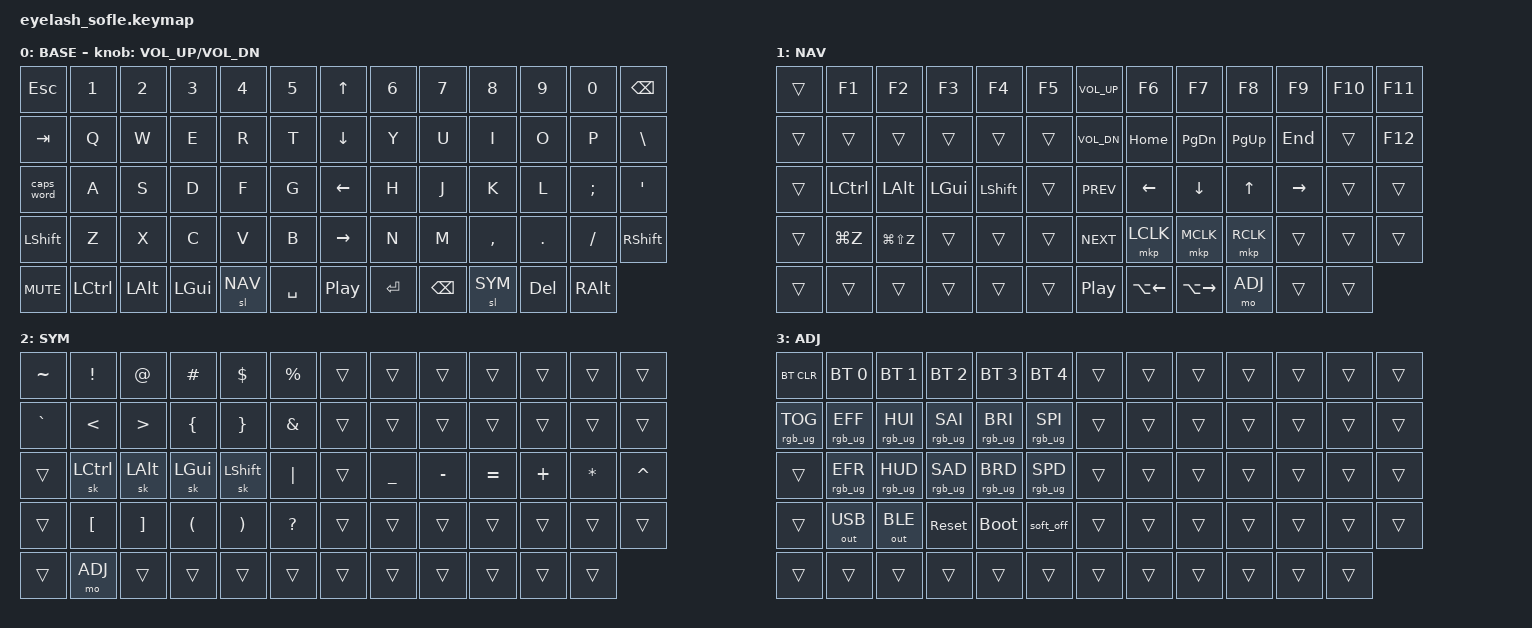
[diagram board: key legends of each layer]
/*
 * Eyelash Sofle Keymap - Vim Style & No Hold
 *
 * Esta configuración está optimizada para programadores y usuarios de Vim.
 * Principios clave:
 * 1. No Hold: Evita mantener teclas pulsadas (Home Row Mods) para reducir latencia y errores.
 * 2. Sticky Keys/Layers: Usa teclas "pegajosas" para modificadores y capas.
 * 3. Vim Navigation: Flechas HJKL en la posición correcta.
 * 4. Combos: Atajos rápidos para teclas lejanas (Esc, Enter, Backspace).
 */

#include <behaviors.dtsi>
#include <dt-bindings/zmk/keys.h>
#include <dt-bindings/zmk/bt.h>
#include <dt-bindings/zmk/outputs.h>
#include <dt-bindings/zmk/pointing.h>
#include <dt-bindings/zmk/rgb.h>

/* --- DEFINICIÓN DE CAPAS --- */
#define BASE 0  // Capa base (QWERTY)
#define NAV  1  // Navegación (Flechas, Mouse, F-Keys)
#define SYM  2  // Símbolos
#define ADJ  3  // Ajustes del teclado (RGB, BT)

/* --- CONFIGURACIÓN DEL MOUSE --- */
/* Ajustes de sensibilidad para el trackball y scroll */

&msc {
    acceleration-exponent = <1>;      // Aceleración lineal
    time-to-max-speed-ms = <100>;     // Tiempo para velocidad máxima
    delay-ms = <0>;                   // Sin retraso inicial
};

&mmv {
    time-to-max-speed-ms = <500>;     // Suavizado de movimiento
    acceleration-exponent = <1>;
    trigger-period-ms = <16>;
};

/* --- COMPORTAMIENTOS PERSONALIZADOS --- */

/* Soft Off: Apagado suave del teclado */
&soft_off { hold-time-ms = <2000>; };

/* Sticky Keys (&sk): Modificadores que se quedan "pegados" */
/* Ejemplo: Pulsas Shift, sueltas, pulsas A -> Escribe 'A' mayúscula */
/* Sticky Keys (&sk): Modificadores que se quedan "pegados" */
/* Ejemplo: Pulsas Shift, sueltas, pulsas A -> Escribe 'A' mayúscula */
&sk {
    release-after-ms = <2000>;  // Se desactiva si no pulsas nada en 2s
    quick-release;              // Se desactiva inmediatamente tras pulsar la tecla destino
    ignore-modifiers;           // Permite encadenar modificadores (ej. Ctrl+Alt)
};

/* Sticky Layers (&sl): Capas que se quedan activas un momento */
/* Permite pulsar la tecla de capa, soltarla, y luego pulsar la tecla deseada */
&sl {
    release-after-ms = <1000>;  // Tienes 1s para pulsar la tecla de la capa
};

/* Caps Word: Mayúsculas inteligentes */
/* Activa mayúsculas hasta que escribes un espacio o símbolo no permitido */
&caps_word {
    continue-list = <UNDERSCORE MINUS BACKSPACE DELETE>;
};

/ {
    /* --- COMBOS --- */
    /* Pulsar dos teclas a la vez para enviar una acción especial */
    combos {
        compatible = "zmk,combos";

        /* J + K = ESCAPE */
        /* Esencial para salir del modo inserción en Vim sin mover la mano */
        combo_vim_esc {
            timeout-ms = <50>;
            key-positions = <34 35>;
            bindings = <&kp ESC>;
        };

        /* O + P = BACKSPACE */
        /* Borrar sin estirar el meñique a la esquina superior derecha */
        combo_backspace {
            timeout-ms = <50>;
            key-positions = <23 24>;
            bindings = <&kp BSPC>;
        };

        /* K + L = ENTER */
        /* Confirmar comandos rápidamente desde la home row */
        combo_enter {
            timeout-ms = <50>;
            key-positions = <35 36>;
            bindings = <&kp RET>;
        };

        /* ; + ' = COLON */
        /* Acceso directo a : para Vim command mode (:w, :q, :s, etc.) */
        combo_colon {
            timeout-ms = <50>;
            key-positions = <37 38>;
            bindings = <&kp COLON>;
        };

        /* D + F = TAB */
        /* Indentación rápida sin mover la mano del home row */
        combo_tab {
            timeout-ms = <50>;
            key-positions = <29 30>;
            bindings = <&kp TAB>;
        };
    };

    /* Configuración del Encoder (Perilla) para Scroll */
    scroll_encoder: scroll_encoder {
        compatible = "zmk,behavior-sensor-rotate";
        #sensor-binding-cells = <0>;
        bindings = <&msc SCRL_DOWN>, <&msc SCRL_UP>;
        tap-ms = <30>;
    };

    keymap {
        compatible = "zmk,keymap";

        /*
         * CAPA 0: BASE
         * Distribución QWERTY estándar.
         * Pulgares:
         * - Izq: Sticky Layer NAV (un toque activa la capa un momento)
         * - Der: Sticky Layer SYM
         * - Caps Word en lugar de Caps Lock tradicional
         *
         * Panel extra derecho (columna 6):
         * El Eyelash Sofle tiene 5 teclas extra entre las dos mitades.
         * Están distribuidas en una columna vertical (una por fila).
         * La posición física de cada tecla corresponde a su dirección:
         *   Fila 0 (arriba)  → UP
         *   Fila 1            → DOWN
         *   Fila 2            → LEFT
         *   Fila 3            → RIGHT
         *   Fila 4 (centro)   → C_PP (Play/Pause)
         * En otras capas estas teclas usan &trans o controles multimedia.
         */
        default_layer {
            label = "BASE";
            bindings = <
&kp ESC     &kp N1     &kp N2     &kp N3     &kp N4     &kp N5       &kp UP            &kp N6  &kp N7    &kp N8     &kp N9     &kp N0     &kp BSPC
&kp TAB     &kp Q      &kp W      &kp E      &kp R      &kp T        &kp DOWN          &kp Y   &kp U     &kp I      &kp O      &kp P      &kp BSLH
&caps_word  &kp A      &kp S      &kp D      &kp F      &kp G        &kp LEFT          &kp H   &kp J     &kp K      &kp L      &kp SEMI   &kp SQT
&kp LSHFT   &kp Z      &kp X      &kp C      &kp V      &kp B        &kp RIGHT         &kp N   &kp M     &kp COMMA  &kp DOT    &kp FSLH   &kp RSHFT
&kp C_MUTE  &kp LCTRL  &kp LALT   &kp LGUI   &sl NAV    &kp SPACE    &kp C_PP        &kp RET &kp BSPC  &sl SYM    &kp DEL    &kp RALT
            >;
            sensor-bindings = <&inc_dec_kp C_VOL_UP C_VOL_DN>;
        };

        /*
         * CAPA 1: NAV (Navegación)
         * - Mano Derecha: Flechas estilo Vim (HJKL) en la posición de reposo.
         * - Mouse: Botones y movimiento en la fila inferior/central.
         * - Teclas F: F1-F12 distribuidas en la fila superior y lateral.
         * - Word Motion: Alt+Left/Right para saltar palabras en macOS (fila inferior derecha).
         */
        nav_layer {
            label = "NAV";
            bindings = <
&trans      &kp F1      &kp F2      &kp F3      &kp F4      &kp F5          &kp C_VOL_UP    &kp F6    &kp F7    &kp F8     &kp F9      &kp F10      &kp F11
&trans      &trans      &trans      &trans      &trans      &trans          &kp C_VOL_DN    &kp HOME  &kp PG_DN &kp PG_UP  &kp END     &trans       &kp F12
&trans      &kp LCTRL   &kp LALT    &kp LGUI    &kp LSHFT   &trans          &kp C_PREV      &kp LEFT  &kp DOWN  &kp UP     &kp RIGHT   &trans       &trans
&trans      &kp LG(Z)   &kp LG(LS(Z)) &trans    &trans      &trans          &kp C_NEXT      &mkp LCLK &mkp MCLK &mkp RCLK  &trans      &trans       &trans
&trans      &trans      &trans      &trans      &trans      &trans          &kp C_PP        &kp LA(LEFT) &kp LA(RIGHT) &mo ADJ &trans  &trans
            >;
        };

        /*
         * CAPA 2: SYM (Símbolos)
         * - Mano Izquierda: Símbolos agrupados por tipo.
         *   - Fila 0: ~ ! @ # $ %
         *   - Fila 1: ` < > { } &
         *   - Fila 2: Sticky Mods CAGS (Ctrl-Alt-Gui-Shift)
         *   - Fila 3: [ ] ( ) ?
         * - Mano Derecha: 6 símbolos frecuentes en home row.
         *   - Home: _ - = + * ^
         *   - Resto: &trans (pasa a BASE)
         */
        sym_layer {
            label = "SYM";
            bindings = <
&kp TILDE   &kp EXCL    &kp AT      &kp HASH    &kp DLLR    &kp PRCNT       &trans          &trans     &trans    &trans     &trans     &trans       &trans
&kp GRAVE   &kp LT      &kp GT      &kp LBRC    &kp RBRC    &kp AMPS        &trans          &trans     &trans    &trans     &trans     &trans       &trans
&trans      &sk LCTRL   &sk LALT    &sk LGUI    &sk LSHFT   &kp PIPE        &trans          &kp UNDER  &kp MINUS &kp EQUAL  &kp PLUS   &kp STAR     &kp CARET
&trans      &kp LBKT    &kp RBKT    &kp LPAR    &kp RPAR    &kp QMARK       &trans          &trans     &trans    &trans     &trans     &trans       &trans
&trans      &mo ADJ     &trans      &trans      &trans      &trans          &trans          &trans     &trans    &trans     &trans     &trans
            >;
        };

        /*
         * CAPA 3: ADJ (Ajustes)
         * - Control de Bluetooth (perfiles, borrar).
         * - Control de RGB (color, efectos, brillo).
         * - Sistema (Reset, Bootloader).
         */
        adj_layer {
            label = "ADJ";
            bindings = <
&bt BT_CLR  &bt BT_SEL 0 &bt BT_SEL 1 &bt BT_SEL 2 &bt BT_SEL 3 &bt BT_SEL 4    &trans  &trans &trans &trans &trans &trans &trans
&rgb_ug RGB_TOG &rgb_ug RGB_EFF &rgb_ug RGB_HUI &rgb_ug RGB_SAI &rgb_ug RGB_BRI &rgb_ug RGB_SPI    &trans  &trans &trans &trans &trans &trans &trans
&trans      &rgb_ug RGB_EFR &rgb_ug RGB_HUD &rgb_ug RGB_SAD &rgb_ug RGB_BRD &rgb_ug RGB_SPD    &trans  &trans &trans &trans &trans &trans &trans
&trans      &out OUT_USB &out OUT_BLE &sys_reset &bootloader &soft_off          &trans  &trans &trans &trans &trans &trans &trans
&trans      &trans       &trans       &trans       &trans       &trans          &trans  &trans &trans &trans &trans &trans
            >;
        };
    };
};
